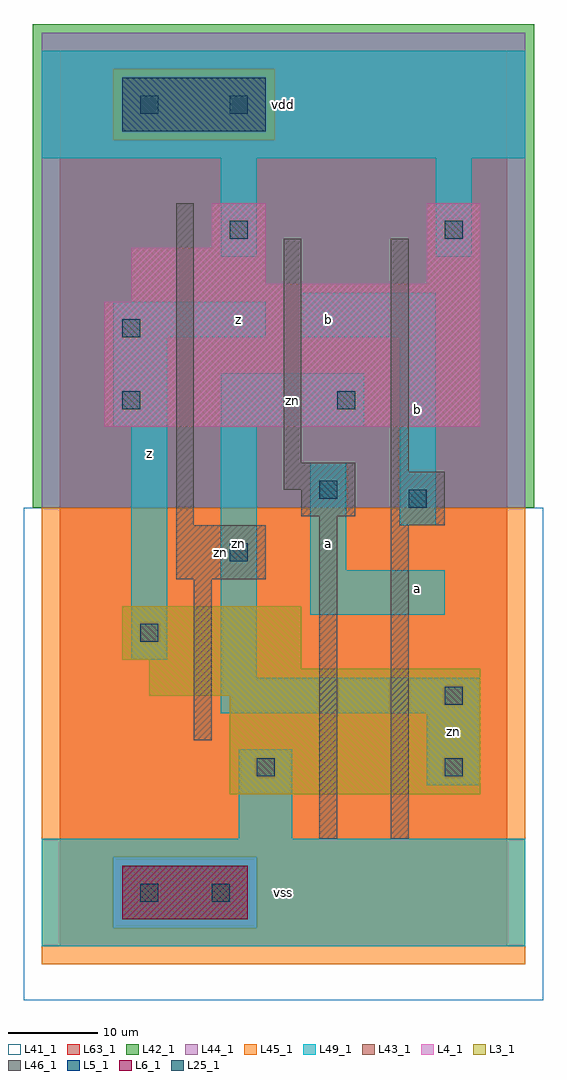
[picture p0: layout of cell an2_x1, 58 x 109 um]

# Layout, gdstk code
import gdstk
lib = gdstk.Library(unit=1e-6, precision=1e-09)
def R(c, l, rs):  # rectangles x0, y0, x1, y1
    for r in rs: c.add(gdstk.rectangle(r[:2], r[2:], *l))
L3_1 = (3, 1)
L4_1 = (4, 1)
L5_1 = (5, 1)
L6_1 = (6, 1)
L25_1 = (25, 1)
L41_1 = (41, 1)
L42_1 = (42, 1)
L43_1 = (43, 1)
L44_1 = (44, 1)
L45_1 = (45, 1)
L46_1 = (46, 1)
L49_1 = (49, 1)
L63_1 = (63, 1)

an2_x1 = lib.new_cell('an2_x1')
R(an2_x1, L3_1, [(19,17,47,28), (10,28,47,31), (10,31,27,32), (7,32,27,38)])
R(an2_x1, L4_1, [(5,58,47,72), (8,72,47,74), (8,74,23,78), (41,74,47,83), (17,78,23,83)])
R(an2_x1, L5_1, [(7,91,23,97)])
R(an2_x1, L6_1, [(7,3,21,9)])
R(an2_x1, L25_1, [(9,5,11,7), (17,5,19,7), (22,19,24,21), (43,19,45,21), (43,27,45,29), (9,34,11,36), (19,43,21,45), (39,49,41,51), (29,50,31,52), (7,60,9,62), (31,60,33,62), (7,68,9,70), (19,79,21,81), (43,79,45,81), (9,93,11,95), (19,93,21,95)])
R(an2_x1, L41_1, [(-4,-6,54,49), (-3,-3,53,49)])
R(an2_x1, L42_1, [(-3,49,53,103)])
R(an2_x1, L43_1, [(7,3,21,9), (19,17,47,28), (10,28,47,31), (10,31,27,32), (7,32,27,38), (5,58,47,72), (8,72,47,74), (8,74,23,78), (41,74,47,83), (17,78,23,83), (7,91,23,97)])
R(an2_x1, L44_1, [(6,2,22,10), (-2,49,52,90), (-2,90,6,98), (24,90,52,98), (-2,98,52,102)])
R(an2_x1, L45_1, [(-2,-2,52,2), (-2,2,6,10), (22,2,52,10), (-2,10,52,49), (6,90,24,98)])
R(an2_x1, L46_1, [(29,12,31,48), (37,12,39,47), (15,23,17,41), (13,41,23,47), (13,47,15,83), (37,47,43,53), (27,48,33,51), (25,51,33,54), (37,53,39,79), (25,54,27,79)])
R(an2_x1, L49_1, [(-2,0,52,12), (20,12,26,22), (41,18,47,26), (18,26,47,30), (18,30,22,58), (8,32,12,58), (28,37,43,42), (28,42,32,54), (38,47,42,68), (6,58,12,68), (18,58,34,64), (6,68,23,72), (27,68,42,73), (18,77,22,88), (42,77,46,88), (-2,88,52,100)])
R(an2_x1, L63_1, [(0,0,50,100)])
an2_x1.add(gdstk.Label('zn', (18,44), layer=46, texttype=1))
an2_x1.add(gdstk.Label('zn', (20,45), layer=49, texttype=1))
an2_x1.add(gdstk.Label('z', (10,55), layer=49, texttype=1))
an2_x1.add(gdstk.Label('z', (10,55), layer=49, texttype=1))
an2_x1.add(gdstk.Label('z', (20,70), layer=49, texttype=1))
an2_x1.add(gdstk.Label('z', (20,70), layer=49, texttype=1))
an2_x1.add(gdstk.Label('vss', (25,6), layer=49, texttype=1))
an2_x1.add(gdstk.Label('vss', (25,6), layer=49, texttype=1))
an2_x1.add(gdstk.Label('a', (30,45), layer=49, texttype=1))
an2_x1.add(gdstk.Label('a', (30,45), layer=49, texttype=1))
an2_x1.add(gdstk.Label('zn', (26,61), layer=49, texttype=1))
an2_x1.add(gdstk.Label('b', (30,70), layer=49, texttype=1))
an2_x1.add(gdstk.Label('b', (30,70), layer=49, texttype=1))
an2_x1.add(gdstk.Label('vdd', (25,94), layer=49, texttype=1))
an2_x1.add(gdstk.Label('vdd', (25,94), layer=49, texttype=1))
an2_x1.add(gdstk.Label('zn', (44,24), layer=49, texttype=1))
an2_x1.add(gdstk.Label('a', (40,40), layer=49, texttype=1))
an2_x1.add(gdstk.Label('a', (40,40), layer=49, texttype=1))
an2_x1.add(gdstk.Label('b', (40,60), layer=49, texttype=1))
an2_x1.add(gdstk.Label('b', (40,60), layer=49, texttype=1))

lib.write_gds('an2_x1.gds')
